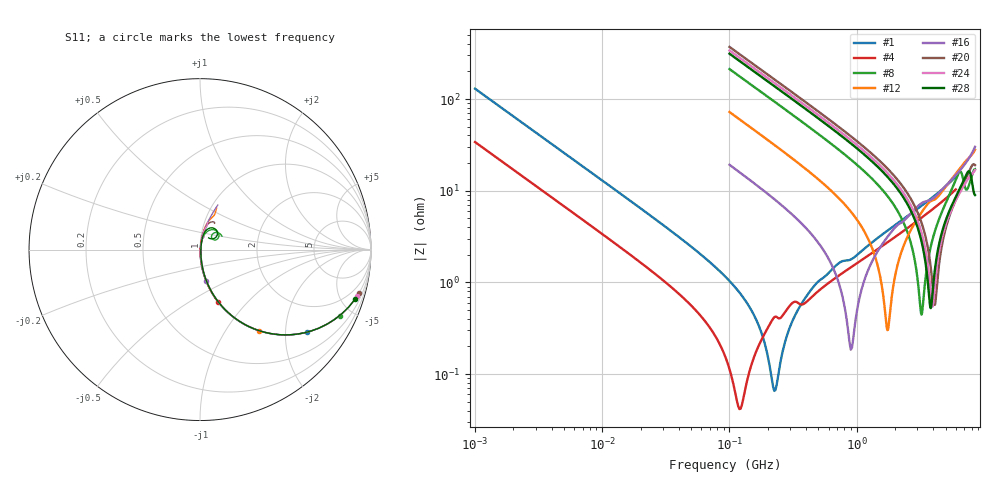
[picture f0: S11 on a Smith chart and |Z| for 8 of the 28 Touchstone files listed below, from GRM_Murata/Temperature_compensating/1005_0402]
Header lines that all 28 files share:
!These Parameters are Measured in Series Mode Connection
!Data Generated on Mar 30, 2021
!  o--ll--o
!Port1  Port2
!  o------o
!Operation Temp=25[degC], DC Bias Voltage=0[V]
# Hz S RI R 50
!Freq.(Hz) S11(Real) S11(Imag) S21(Real) S21(Imag) S12(Real) S12(Imag) S22(Real) S22(Imag)
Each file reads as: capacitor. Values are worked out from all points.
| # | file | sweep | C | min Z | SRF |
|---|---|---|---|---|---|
| 1 | GRM1551X1A122JA01.s2p | 1 MHz to 6 GHz | 1.23 nF | 65.6 mohm | 227 MHz |
| 2 | GRM1551X1A182JA01.s2p | 1 MHz to 6 GHz | 1.76 nF | 54.7 mohm | 196.2 MHz |
| 3 | GRM1551X1A392JA01.s2p | 1 MHz to 6 GHz | 3.81 nF | 46.5 mohm | 133.5 MHz |
| 4 | GRM1551X1A472JA01.s2p | 1 MHz to 6 GHz | 4.69 nF | 41.5 mohm | 121.3 MHz |
| 5 | GRM1552C1E5R6DA01.s2p | 100 MHz to 8.5 GHz | 5.6 pF | 498 mohm | 3.686 GHz |
| 6 | GRM1552C1E6R2DA01.s2p | 100 MHz to 8.5 GHz | 6.2 pF | 473 mohm | 3.53 GHz |
| 7 | GRM1552C1E6R8DA01.s2p | 100 MHz to 8.5 GHz | 6.8 pF | 453 mohm | 3.385 GHz |
| 8 | GRM1552C1E7R5DA01.s2p | 100 MHz to 8.5 GHz | 7.5 pF | 445 mohm | 3.234 GHz |
| 9 | GRM1552C1E102JA01.s2p | 1 MHz to 6 GHz | 993 pF | 66.7 mohm | 276.4 MHz |
| 10 | GRM1552C1E150JA01.s2p | 100 MHz to 8.5 GHz | 15 pF | 347 mohm | 2.101 GHz |
| 11 | GRM1552C1E181JA01.s2p | 100 MHz to 8.5 GHz | 180 pF | 123 mohm | 626.1 MHz |
| 12 | GRM1552C1E220JA01.s2p | 100 MHz to 8.5 GHz | 22 pF | 302 mohm | 1.749 GHz |
| 13 | GRM1552C1E221JA01.s2p | 100 MHz to 8.5 GHz | 220 pF | 136 mohm | 511 MHz |
| 14 | GRM1552C1E331JA01.s2p | 100 MHz to 8.5 GHz | 330 pF | 108 mohm | 443.1 MHz |
| 15 | GRM1552C1E471JA01.s2p | 100 MHz to 8.5 GHz | 470 pF | 95 mohm | 388.3 MHz |
| 16 | GRM1552C1E820JA01.s2p | 100 MHz to 8.5 GHz | 82 pF | 185 mohm | 904.8 MHz |
| 17 | GRM1552C1H4R0CA01.s2p | 100 MHz to 8.5 GHz | 4 pF | 579 mohm | 4.265 GHz |
| 18 | GRM1552C1H4R1CA01.s2p | 100 MHz to 8.5 GHz | 4.1 pF | 574 mohm | 4.201 GHz |
| 19 | GRM1552C1H4R2CA01.s2p | 100 MHz to 8.5 GHz | 4.2 pF | 570 mohm | 4.152 GHz |
| 20 | GRM1552C1H4R3BA01.s2p | 100 MHz to 8.5 GHz | 4.3 pF | 567 mohm | 4.105 GHz |
| 21 | GRM1552C1H4R4BA01.s2p | 100 MHz to 8.5 GHz | 4.4 pF | 575 mohm | 4.044 GHz |
| 22 | GRM1552C1H4R5BA01.s2p | 100 MHz to 8.5 GHz | 4.5 pF | 564 mohm | 4.003 GHz |
| 23 | GRM1552C1H4R6BA01.s2p | 100 MHz to 8.5 GHz | 4.6 pF | 554 mohm | 3.963 GHz |
| 24 | GRM1552C1H4R7CA01.s2p | 100 MHz to 8.5 GHz | 4.7 pF | 544 mohm | 3.939 GHz |
| 25 | GRM1552C1H4R8BA01.s2p | 100 MHz to 8.5 GHz | 4.8 pF | 541 mohm | 3.898 GHz |
| 26 | GRM1552C1H4R9BA01.s2p | 100 MHz to 8.5 GHz | 4.9 pF | 537 mohm | 3.858 GHz |
| 27 | GRM1552C1H5R0BA01.s2p | 100 MHz to 8.5 GHz | 5 pF | 530 mohm | 3.854 GHz |
| 28 | GRM1552C1H5R1DA01.s2p | 100 MHz to 8.5 GHz | 5.1 pF | 524 mohm | 3.816 GHz |
